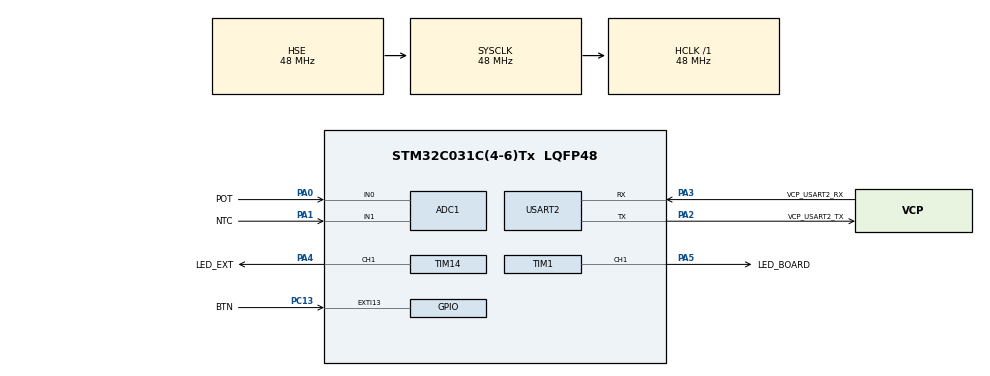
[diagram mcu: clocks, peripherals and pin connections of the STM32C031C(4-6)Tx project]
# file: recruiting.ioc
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ADC1.ContinuousConvMode=ENABLE
ADC1.DMAContinuousRequests=ENABLE
ADC1.NbrOfConversionFlag=0
ADC1.SamplingTimeCommon1=ADC_SAMPLETIME_79CYCLES_5
ADC1.SelectedChannel=ADC_CHANNEL_0|ADC_CHANNEL_1
ADC1.master=1
Dma.ADC1.0.Direction=DMA_PERIPH_TO_MEMORY
Dma.ADC1.0.EventEnable=DISABLE
Dma.ADC1.0.Instance=DMA1_Channel1
Dma.ADC1.0.MemDataAlignment=DMA_MDATAALIGN_HALFWORD
Dma.ADC1.0.MemInc=DMA_MINC_ENABLE
Dma.ADC1.0.Mode=DMA_CIRCULAR
Dma.ADC1.0.PeriphDataAlignment=DMA_PDATAALIGN_HALFWORD
Dma.ADC1.0.PeriphInc=DMA_PINC_DISABLE
Dma.ADC1.0.Polarity=HAL_DMAMUX_REQ_GEN_RISING
Dma.ADC1.0.Priority=DMA_PRIORITY_LOW
Dma.ADC1.0.RequestNumber=1
Dma.ADC1.0.SignalID=NONE
Dma.ADC1.0.SyncEnable=DISABLE
Dma.ADC1.0.SyncPolarity=HAL_DMAMUX_SYNC_NO_EVENT
Dma.ADC1.0.SyncRequestNumber=1
Dma.ADC1.0.SyncSignalID=NONE
Dma.Request0=ADC1
Mcu.Family=STM32C0
Mcu.Name=STM32C031C(4-6)Tx
Mcu.Package=LQFP48
NVIC.DMA1_Channel1_IRQn=true\:0\:0\:false\:false\:true\:false\:true\:true
NVIC.EXTI4_15_IRQn=true\:0\:0\:false\:false\:true\:true\:true\:true
NVIC.TIM14_IRQn=true\:0\:0\:false\:false\:true\:true\:true\:true
NVIC.USART2_IRQn=true\:0\:0\:false\:false\:true\:true\:true\:true
PA0.GPIO_Label=POT
PA0.Mode=IN0
PA0.Signal=ADC1_IN0
PA1.GPIO_Label=NTC
PA1.Mode=IN1
PA1.Signal=ADC1_IN1
PA13.GPIO_Label=DEBUG_SWDIO
PA13.Mode=Serial_Wire
PA13.Signal=DEBUG_SWDIO
PA14-BOOT0.GPIO_Label=DEBUG_SWCLK
PA14-BOOT0.Mode=Serial_Wire
PA14-BOOT0.Signal=DEBUG_SWCLK
PA2.GPIO_Label=VCP_USART2_TX
PA2.Mode=Asynchronous
PA2.Signal=USART2_TX
PA3.GPIO_Label=VCP_USART2_RX
PA3.Mode=Asynchronous
PA3.Signal=USART2_RX
PA4.GPIO_Label=LED_EXT
PA4.Signal=S_TIM14_CH1
PA5.GPIO_Label=LED_BOARD
PA5.Signal=S_TIM1_CH1
PC13.GPIO_Label=BTN
PC13.GPIO_ModeDefaultEXTI=GPIO_MODE_IT_FALLING
PC13.GPIO_PuPd=GPIO_NOPULL
PC13.Signal=GPXTI13
PC14-OSCX_IN\ (PC14).GPIO_Label=RCC_OSCX_IN
PC14-OSCX_IN\ (PC14).Mode=LSE-External-Oscillator
PC14-OSCX_IN\ (PC14).Signal=RCC_OSCX_IN
PC15-OSCX_OUT\ (PC15).GPIO_Label=RCC_OSCX_OUT
PC15-OSCX_OUT\ (PC15).Mode=LSE-External-Oscillator
PC15-OSCX_OUT\ (PC15).Signal=RCC_OSCX_OUT
PF0-OSC_IN\ (PF0).GPIO_Label=RCC_OSC_IN
PF0-OSC_IN\ (PF0).Mode=HSE-External-Oscillator
PF0-OSC_IN\ (PF0).Signal=RCC_OSC_IN
PF1-OSC_OUT\ (PF1).GPIO_Label=RCC_OSC_OUT
PF1-OSC_OUT\ (PF1).Mode=HSE-External-Oscillator
PF1-OSC_OUT\ (PF1).Signal=RCC_OSC_OUT
ProjectManager.HeapSize=0x200
ProjectManager.StackSize=0x400
ProjectManager.TargetToolchain=Makefile
RCC.ADCFreq_Value=48000000
RCC.AHBFreq_Value=48000000
RCC.CortexFreq_Value=48000000
RCC.EXTERNAL_CLOCK_VALUE=12288000
RCC.HCLKFreq_Value=48000000
RCC.HSE_VALUE=48000000
RCC.HSISYSCLKDivider=RCC_HSI_DIV1
RCC.HSI_VALUE=48000000
RCC.SYSCLKFreq_VALUE=48000000
RCC.SYSCLKSource=RCC_SYSCLKSOURCE_HSE
SH.S_TIM14_CH1.0=TIM14_CH1,PWM Generation1 CH1
SH.S_TIM1_CH1.0=TIM1_CH1,PWM Generation1 CH1
TIM1.AutoReloadPreload=TIM_AUTORELOAD_PRELOAD_ENABLE
TIM1.Channel-PWM\ Generation1\ CH1=TIM_CHANNEL_1
TIM1.Period=499
TIM1.Prescaler=47999
TIM14.AutoReloadPreload=TIM_AUTORELOAD_PRELOAD_ENABLE
TIM14.Channel=TIM_CHANNEL_1
TIM14.Period=999
TIM14.Prescaler=47
USART2.VirtualMode-Asynchronous=VM_ASYNC
VP_TIM14_VS_ClockSourceINT.Mode=Enable_Timer
VP_TIM1_VS_ClockSourceINT.Mode=Internal
board=NUCLEO-C031C6

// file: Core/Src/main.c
/* USER CODE BEGIN Header */
/**
  ******************************************************************************
  * @file           : main.c
  * @brief          : Main program body
  ******************************************************************************
  * @attention
  *
  * Copyright (c) 2026 STMicroelectronics.
  * All rights reserved.
  *
  * This software is licensed under terms that can be found in the LICENSE file
  * in the root directory of this software component.
  * If no LICENSE file comes with this software, it is provided AS-IS.
  *
  ******************************************************************************
  */
/* USER CODE END Header */
#include "main.h"
#include "adc.h"
#include "dma.h"
#include "tim.h"
#include "usart.h"
#include "gpio.h"

/* USER CODE BEGIN Includes */
#include <assert.h>
#include "system-fsm-api.h"
#include "adc-filter-api.h"
#include "cli-api.h"
#include "serial-print-api.h"
/* USER CODE END Includes */

/* USER CODE BEGIN PD */
#define HOW_MANY_BYTES_TO_READ (1)
#define DMA_BUFFER_SIZE (2)
#define CLI_LINE_MAX_LENGTH (64)

/* TODO: validate the ADC itself against VREFINT */
#define NTC_RAW_MIN (50U)
#define NTC_RAW_MAX (4045U)

#define LED_BLINK_TICK_HZ (1000U) /* blink timebase: 1 tick = 1 ms */
#define LED_DUTY_MAX_PERCENT (100U)
#define LED_PWM_TICK_HZ (1000000U)   /* breathing timebase: 1 tick = 1 us */
#define LED_PWM_PERIOD_TICKS (1000U) /* 1 kHz carrier: one update interrupt per millisecond */
/* the breathing advances once per carrier period (one update interrupt) */
#define LED_BREATHING_STEP_MS ((LED_PWM_PERIOD_TICKS * 1000U) / LED_PWM_TICK_HZ)
static_assert(LED_BREATHING_STEP_MS >= 1U, "breathing step must be at least 1 ms: lower the PWM carrier frequency");

#define BUTTON_HOLD_MS (2000U) /* a press this long is a long press (leaves the warning state) */
/* USER CODE END PD */

/* USER CODE BEGIN PV */
static uint8_t rx_byte;
static volatile uint32_t adc_conversion_count;

static struct SystemFsm system_fsm;

static struct Cli cli;

/* dma_buffer[0] = POT (channel 0); dma_buffer[1] = NTC (channel 1) */
static uint16_t dma_buffer[DMA_BUFFER_SIZE];

static const struct SystemFsmConfig main_fsm_config = {
    .pot = {
        .r_pullup = 5000.0f,
        .r0_ohms = 5000.0f,
        .t0_kelvin = 298.15f,
        .beta = 3950.0f,
    },
    .ntc = {
        .r_pullup = 18000.0f,
        .r0_ohms = 8755.0f,
        .t0_kelvin = 298.15f,
        .beta = 3950.0f,
    },
};

/* hardware behind each SystemFsmLed: the FSM only knows the enum */
struct LedHardware {
    TIM_HandleTypeDef *timer;
    uint32_t channel;
};

static const struct LedHardware main_leds[SYSTEM_FSM_LED_COUNT] = {
    [SYSTEM_FSM_LED_BOARD] = { .timer = &htim1, .channel = TIM_CHANNEL_1 },
    [SYSTEM_FSM_LED_EXTERNAL] = { .timer = &htim14, .channel = TIM_CHANNEL_1 },
};

/* breathing progress of each LED, advanced by its timer update interrupt */
struct LedBreathing {
    volatile bool active;
    volatile uint16_t period_ms;
    volatile uint16_t phase_ms;
};

static struct LedBreathing main_breathing[SYSTEM_FSM_LED_COUNT];

/* long press detection, polled from the main loop only: no volatile needed */
struct ButtonHold {
    bool is_held;
    bool has_fired; /* one event per press, however long it is held */
    uint32_t held_since_ms;
};

static struct ButtonHold main_button_hold;
/* USER CODE END PV */

void SystemClock_Config(void);
/* USER CODE BEGIN PFP */
static void prv_serial_write_char(char character);

static void prv_cli_print(void);
static void prv_cli_reset(void);

static uint32_t prv_min(uint32_t a, uint32_t b);

static void prv_led_set_blink(enum SystemFsmLed led, uint16_t period_ms, uint8_t duty_percent);
static void prv_led_set_breathing(enum SystemFsmLed led, uint16_t period_ms);
static void prv_led_set_duty(enum SystemFsmLed led, uint8_t duty_percent);
static inline void prv_led_stop_breathing(enum SystemFsmLed led);
static void prv_led_breathing_step(enum SystemFsmLed led);

static enum CommandHandlerStatus prv_command_help(int argc, char *argv[]);
static enum CommandHandlerStatus prv_command_raw(int argc, char *argv[]);
static enum CommandHandlerStatus prv_command_avg(int argc, char *argv[]);
static enum CommandHandlerStatus prv_command_noise(int argc, char *argv[]);
static enum CommandHandlerStatus prv_command_run(int argc, char *argv[]);

static enum SystemFsmFatalErrorCode prv_port_self_test(void);
static void prv_port_read_raw(uint16_t *pot_raw, uint16_t *ntc_raw);

static inline bool prv_button_hold_update(bool is_pressed, uint32_t now_ms);

/* USER CODE END PFP */

int main(void) {

    /* MCU Configuration--------------------------------------------------------*/

    /* Reset of all peripherals, Initializes the Flash interface and the Systick. */
    HAL_Init();

    /* Configure the system clock */
    SystemClock_Config();

    /* Initialize all configured peripherals */
    MX_GPIO_Init();
    MX_DMA_Init();
    MX_ADC1_Init();
    MX_USART2_UART_Init();
    MX_TIM1_Init();
    MX_TIM14_Init();
    /* USER CODE BEGIN 2 */
    /* first: everything below may print */
    serial_print_init(prv_serial_write_char);

    static char cli_storage[CLI_LINE_MAX_LENGTH];
    static const struct Command cli_commands[] = {
        { "help", prv_command_help },
        { "raw", prv_command_raw },
        { "avg", prv_command_avg },
        { "noise", prv_command_noise },
        { "run", prv_command_run },
    };
    const size_t cli_commands_length = sizeof(cli_commands) / sizeof(cli_commands[0]);

    const enum CliInitStatus cli_init_result = cli_init(&cli, cli_storage, sizeof(cli_storage), cli_commands, cli_commands_length);
    if (cli_init_result != CLI_INIT_OK) {
        serial_print("[FATAL] cli_init failed: %d\r\n", cli_init_result);
        Error_Handler();
    }

    /* FSM - initialization */
    static const struct SystemFsmCli system_fsm_cli = {
        .print = prv_cli_print,
        .reset = prv_cli_reset,
    };

    static const struct SystemFsmLeds system_fsm_leds = {
        .set_blink = prv_led_set_blink,
        .set_breathing = prv_led_set_breathing,
        .set_duty = prv_led_set_duty,
    };

    system_fsm = (struct SystemFsm){
        .cli = &system_fsm_cli,
        .leds = &system_fsm_leds,
        .self_test = prv_port_self_test,
        .read_raw = prv_port_read_raw,
        .print = serial_print,
        .reset_mcu = NVIC_SystemReset,
        .get_tick = HAL_GetTick,
    };

    enum SystemFsmStatus fsm_status = system_fsm_init(&system_fsm, &main_fsm_config);
    if (fsm_status != SYSTEM_FSM_OK) {
        serial_print("[FATAL] system_fsm_init failed: %d\r\n", fsm_status);
        Error_Handler();
    }

    /* USER CODE END 2 */

    /* Infinite loop */
    while (1) {

        /* USER CODE BEGIN 3 */
        fsm_status = system_fsm_run(&system_fsm);
        assert(fsm_status == SYSTEM_FSM_OK);

        /* the button pulls the pin low while pressed */
        const bool is_button_pressed = HAL_GPIO_ReadPin(BTN_GPIO_Port, BTN_Pin) == GPIO_PIN_RESET;
        if (prv_button_hold_update(is_button_pressed, HAL_GetTick())) {
            system_fsm_post_trigger(&system_fsm, SYSTEM_FSM_TRIGGER_BUTTON_HOLD);
        }
    }
    /* USER CODE END 3 */
}

void SystemClock_Config(void) {
    RCC_OscInitTypeDef RCC_OscInitStruct = { 0 };
    RCC_ClkInitTypeDef RCC_ClkInitStruct = { 0 };

    __HAL_FLASH_SET_LATENCY(FLASH_LATENCY_1);

    /** Initializes the RCC Oscillators according to the specified parameters
  * in the RCC_OscInitTypeDef structure.
  */
    RCC_OscInitStruct.OscillatorType = RCC_OSCILLATORTYPE_HSE;
    RCC_OscInitStruct.HSEState = RCC_HSE_ON;
    if (HAL_RCC_OscConfig(&RCC_OscInitStruct) != HAL_OK) {
        Error_Handler();
    }

    /** Initializes the CPU, AHB and APB buses clocks
  */
    RCC_ClkInitStruct.ClockType = RCC_CLOCKTYPE_HCLK | RCC_CLOCKTYPE_SYSCLK | RCC_CLOCKTYPE_PCLK1;
    RCC_ClkInitStruct.SYSCLKSource = RCC_SYSCLKSOURCE_HSE;
    RCC_ClkInitStruct.SYSCLKDivider = RCC_SYSCLK_DIV1;
    RCC_ClkInitStruct.AHBCLKDivider = RCC_HCLK_DIV1;
    RCC_ClkInitStruct.APB1CLKDivider = RCC_APB1_DIV1;

    if (HAL_RCC_ClockConfig(&RCC_ClkInitStruct, FLASH_LATENCY_1) != HAL_OK) {
        Error_Handler();
    }
}

/* USER CODE BEGIN 4 */
static void prv_serial_write_char(char character) {
    HAL_UART_Transmit(&huart2, (uint8_t *)&character, 1, HAL_MAX_DELAY);
}

/* replaces newlib's version, which pulls in fiprintf and with it the whole stdio */
void __assert_func(const char *file, int line, const char *function, const char *expression) {
    serial_print("[ASSERT] %s:%d: %s\r\n", file, line, expression);
    Error_Handler();
    /* Error_Handler never returns, but it is not declared noreturn as assert.h requires here */
    while (1) {
    }
}

static void prv_cli_print(void) {
    if (cli.status == CLI_FEED_EMPTY) {
        serial_print("> ");
        cli_set_status_unchanged(&cli);
    } else if (cli.status == CLI_FEED_UPDATED) {
        serial_print("\r\n> %s", cli_get_command(&cli));
        cli_set_status_unchanged(&cli);
        return;
    }
    if (cli.status != CLI_FEED_EXECUTABLE) {
        assert(cli.status != CLI_FEED_SELF_IS_NULL);
        return;
    }
    serial_print("\r\n");
    const enum CommandExecutorStatus exec_status = cli_execute(&cli);
    switch (exec_status) {
        case COMMAND_EXECUTOR_OK:
            return;
        case COMMAND_EXECUTOR_EMPTY_LINE:
            serial_print("empty line\r\n");
            return;
        case COMMAND_EXECUTOR_TOO_MANY_ARGS:
            serial_print("too many args\r\n");
            return;
        case COMMAND_EXECUTOR_COMMAND_NOT_FOUND:
            serial_print("command not found\r\n");
            return;
        case COMMAND_EXECUTOR_INVALID_ARGS:
            /* The handler has already reported the error to the user */
            return;
        default:
            serial_print("[ERROR] cli_execute: should not be here. Error code: %d\r\n", exec_status);
            return;
    }
}

static void prv_cli_reset(void) {
    cli_reset(&cli);
}

static uint32_t prv_min(uint32_t a, uint32_t b) {
    if (a < b) {
        return a;
    }
    return b;
}

static void prv_led_set_blink(enum SystemFsmLed led, uint16_t period_ms, uint8_t duty_percent) {
    /* the arguments come from FSM constants: a bad value is a programming error */
    assert(led < SYSTEM_FSM_LED_COUNT);
    assert(period_ms > 0U);
    assert(duty_percent <= LED_DUTY_MAX_PERCENT);
    if (led >= SYSTEM_FSM_LED_COUNT || period_ms == 0U) {
        return; /* without asserts: never write ARR = period_ms - 1 = 65535 */
    }
    const struct LedHardware *hw = &main_leds[led];
    const uint32_t duty = prv_min(duty_percent, LED_DUTY_MAX_PERCENT);
    prv_led_stop_breathing(led);

    /* unit of time. The 16-bit counter would overflow in ~1.4 ms at 48 MHz,
     * so the clock is divided down to LED_BLINK_TICK_HZ (1 tick = 1 ms).
     * it is divided by "register value + 1", hence the "- 1U".
     */
    const uint32_t prescaler = HAL_RCC_GetPCLK1Freq() / LED_BLINK_TICK_HZ - 1U;
    __HAL_TIM_SET_PRESCALER(hw->timer, prescaler);

    /* ticks per period: the counter goes 0..ARR, that is ARR + 1 ticks, hence the "- 1U" */
    __HAL_TIM_SET_AUTORELOAD(hw->timer, period_ms - 1U);

    /* ticks the pin stays high (the duty cycle) */
    const uint32_t duty_ticks = (uint32_t)period_ms * duty / LED_DUTY_MAX_PERCENT;
    __HAL_TIM_SET_COMPARE(hw->timer, hw->channel, duty_ticks);
    /* load the new prescaler now and restart the period: otherwise shortening ARR
     * below the current counter value makes the counter wrap around 65535 */
    hw->timer->Instance->EGR = TIM_EGR_UG;
}

static void prv_led_set_breathing(enum SystemFsmLed led, uint16_t period_ms) {
    assert(led < SYSTEM_FSM_LED_COUNT);
    assert(period_ms >= 2U);
    if (led >= SYSTEM_FSM_LED_COUNT || period_ms < 2U) {
        return; /* the triangle needs at least one millisecond up and one down */
    }
    const struct LedHardware *hw = &main_leds[led];
    struct LedBreathing *breathing = &main_breathing[led];

    /* no interrupt while the breathing state is being rewritten */
    prv_led_stop_breathing(led);
    breathing->period_ms = period_ms;
    breathing->phase_ms = 0U;

    /* fast PWM: the eye sees the duty cycle as brightness, not as blinking */
    const uint32_t prescaler = HAL_RCC_GetPCLK1Freq() / LED_PWM_TICK_HZ - 1U;
    __HAL_TIM_SET_PRESCALER(hw->timer, prescaler);
    __HAL_TIM_SET_AUTORELOAD(hw->timer, LED_PWM_PERIOD_TICKS - 1U);
    __HAL_TIM_SET_COMPARE(hw->timer, hw->channel, 0U);
    hw->timer->Instance->EGR = TIM_EGR_UG;

    /* the forced update above also raised the update flag: clear it, or the
     * interrupt would fire immediately */
    __HAL_TIM_CLEAR_FLAG(hw->timer, TIM_FLAG_UPDATE);
    breathing->active = true;
    __HAL_TIM_ENABLE_IT(hw->timer, TIM_IT_UPDATE);
}

static void prv_led_set_duty(enum SystemFsmLed led, uint8_t duty_percent) {
    assert(led < SYSTEM_FSM_LED_COUNT);
    assert(duty_percent <= LED_DUTY_MAX_PERCENT);
    if (led >= SYSTEM_FSM_LED_COUNT) {
        return;
    }
    const struct LedHardware *hw = &main_leds[led];
    const uint32_t duty = prv_min(duty_percent, LED_DUTY_MAX_PERCENT);

    /* nothing may change the duty on its own: only the next call does */
    prv_led_stop_breathing(led);

    /* same fast carrier as the breathing: the eye sees the duty cycle as brightness */
    const uint32_t prescaler = HAL_RCC_GetPCLK1Freq() / LED_PWM_TICK_HZ - 1U;
    __HAL_TIM_SET_PRESCALER(hw->timer, prescaler);
    __HAL_TIM_SET_AUTORELOAD(hw->timer, LED_PWM_PERIOD_TICKS - 1U);
    __HAL_TIM_SET_COMPARE(hw->timer, hw->channel, LED_PWM_PERIOD_TICKS * duty / LED_DUTY_MAX_PERCENT);
    hw->timer->Instance->EGR = TIM_EGR_UG;
}

static inline void prv_led_stop_breathing(enum SystemFsmLed led) {
    __HAL_TIM_DISABLE_IT(main_leds[led].timer, TIM_IT_UPDATE);
    main_breathing[led].active = false;
}

static void prv_led_breathing_step(enum SystemFsmLed led) {
    struct LedBreathing *breathing = &main_breathing[led];
    const uint16_t period_ms = breathing->period_ms;
    const uint16_t half_ms = period_ms / 2U;

    breathing->phase_ms = (breathing->phase_ms + LED_BREATHING_STEP_MS) % period_ms;
    const uint16_t phase_ms = breathing->phase_ms;

    /* triangle wave: duty rises over the first half of the period, falls over the second */
    const uint32_t rising_ms = (phase_ms < half_ms) ? phase_ms : (period_ms - phase_ms);
    const uint32_t duty_ticks = LED_PWM_PERIOD_TICKS * rising_ms / half_ms;
    __HAL_TIM_SET_COMPARE(main_leds[led].timer, main_leds[led].channel, duty_ticks);
}

static enum CommandHandlerStatus prv_command_help(int argc, char *argv[]) {
    serial_print("Available commands:\r\n");
    serial_print("  help  - Show this help message\r\n");
    serial_print("  raw   - Remove all filters\r\n");
    serial_print("  avg   - Add the 150-sample moving average filter\r\n");
    serial_print("  noise - Add random noise injection\r\n");
    serial_print("  run   - Start streaming the sensor readings\r\n");
    serial_print("Filters stack: avg and noise can be active together.\r\n");
    return COMMAND_HANDLER_OK;
}

static enum CommandHandlerStatus prv_command_raw(int argc, char *argv[]) {
    adc_filter_handle_event(&system_fsm.pot_filter, ADC_FILTER_EVENT_CLEAR);
    adc_filter_handle_event(&system_fsm.ntc_filter, ADC_FILTER_EVENT_CLEAR);
    serial_print("removed all the filters applied\r\n");
    return COMMAND_HANDLER_OK;
}

static enum CommandHandlerStatus prv_command_avg(int argc, char *argv[]) {
    adc_filter_handle_event(&system_fsm.pot_filter, ADC_FILTER_EVENT_ADD_AVERAGE);
    adc_filter_handle_event(&system_fsm.ntc_filter, ADC_FILTER_EVENT_ADD_AVERAGE);
    serial_print("moving average filtering enabled\r\n");
    return COMMAND_HANDLER_OK;
}

static enum CommandHandlerStatus prv_command_noise(int argc, char *argv[]) {
    adc_filter_handle_event(&system_fsm.pot_filter, ADC_FILTER_EVENT_ADD_NOISE);
    adc_filter_handle_event(&system_fsm.ntc_filter, ADC_FILTER_EVENT_ADD_NOISE);
    serial_print("noise injection enabled\r\n");
    return COMMAND_HANDLER_OK;
}

static enum CommandHandlerStatus prv_command_run(int argc, char *argv[]) {
    system_fsm_post_trigger(&system_fsm, SYSTEM_FSM_TRIGGER_RUN_COMMAND);
    return COMMAND_HANDLER_OK;
}

static enum SystemFsmFatalErrorCode prv_port_self_test(void) {
    const HAL_StatusTypeDef uart_result = HAL_UART_Receive_IT(&huart2, &rx_byte, HOW_MANY_BYTES_TO_READ);
    if (uart_result != HAL_OK) {
        return SYSTEM_FSM_FATAL_ERROR_SERIAL_START_FAILED;
    }

    for (enum SystemFsmLed led = 0; led < SYSTEM_FSM_LED_COUNT; led++) {
        if (HAL_TIM_PWM_Start(main_leds[led].timer, main_leds[led].channel) != HAL_OK) {
            return SYSTEM_FSM_FATAL_ERROR_LED_START_FAILED;
        }
    }

    const HAL_StatusTypeDef dma_result = HAL_ADC_Start_DMA(&hadc1, (uint32_t *)dma_buffer, DMA_BUFFER_SIZE);
    if (dma_result != HAL_OK) {
        return SYSTEM_FSM_FATAL_ERROR_SENSOR_START_FAILED;
    }

    uint32_t waited_ms = 0;
    while (adc_conversion_count < 1) {
        if (waited_ms >= 100) {
            return SYSTEM_FSM_FATAL_ERROR_SENSOR_TIMEOUT;
        }
        HAL_Delay(1);
        waited_ms++;
    }
    /* the potentiometer is not checked: every position, rails included, is a valid reading */
    const uint16_t ntc_raw = dma_buffer[1];
    if (ntc_raw < NTC_RAW_MIN || ntc_raw > NTC_RAW_MAX) {
        return SYSTEM_FSM_FATAL_ERROR_NTC_OUT_OF_RANGE;
    }
    return SYSTEM_FSM_FATAL_ERROR_NONE;
}

static void prv_port_read_raw(uint16_t *pot_raw, uint16_t *ntc_raw) {
    assert(pot_raw != NULL && ntc_raw != NULL);
    /* the DMA keeps the buffer fresh: hand over the latest conversion, the FSM filters it */
    *pot_raw = dma_buffer[0];
    *ntc_raw = dma_buffer[1];
}

/* returns true once per press, when it has been held for BUTTON_HOLD_MS */
static inline bool prv_button_hold_update(bool is_pressed, uint32_t now_ms) {
    struct ButtonHold *hold = &main_button_hold;
    if (!is_pressed) {
        hold->is_held = false;
        hold->has_fired = false;
        return false;
    }
    if (!hold->is_held) {
        hold->is_held = true;
        hold->held_since_ms = now_ms;
        return false;
    }
    /* unsigned subtraction: still correct when the tick wraps around */
    if (hold->has_fired || (now_ms - hold->held_since_ms) < BUTTON_HOLD_MS) {
        return false;
    }
    hold->has_fired = true;
    return true;
}

void HAL_GPIO_EXTI_Falling_Callback(uint16_t GPIO_Pin) {
    if (GPIO_Pin != BTN_Pin) {
        return;
    }
    system_fsm_post_trigger(&system_fsm, SYSTEM_FSM_TRIGGER_BUTTON_CLICK);
}

void HAL_UART_RxCpltCallback(UART_HandleTypeDef *huart) {
    HAL_UART_Receive_IT(&huart2, &rx_byte, HOW_MANY_BYTES_TO_READ);
    if (huart != &huart2) {
        return;
    }
    /* TODO: think better about this part. */
    if (system_fsm_is_cli_enabled(&system_fsm)) {
        cli_feed(&cli, rx_byte);
    }
}

void HAL_TIM_PeriodElapsedCallback(TIM_HandleTypeDef *htim) {
    /* one update per PWM period (1 ms): advance the breathing of the LED on this timer */
    for (enum SystemFsmLed led = 0; led < SYSTEM_FSM_LED_COUNT; led++) {
        if (main_leds[led].timer == htim && main_breathing[led].active) {
            prv_led_breathing_step(led);
        }
    }
}

void HAL_ADC_ConvCpltCallback(ADC_HandleTypeDef *hadc) {
    if (hadc == &hadc1) {
        adc_conversion_count++;
    }
}
/* USER CODE END 4 */

void Error_Handler(void) {
    __disable_irq();
    while (1) {
    }
}
